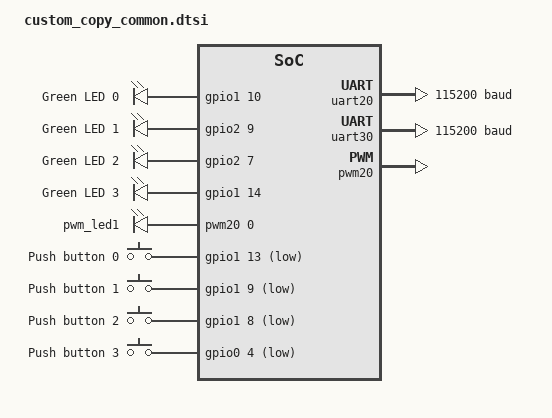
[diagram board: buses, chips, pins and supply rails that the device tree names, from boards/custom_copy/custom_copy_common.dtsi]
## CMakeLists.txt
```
cmake_minimum_required(VERSION 3.20.0)

# append custom board dir
list(APPEND BOARD_ROOT ${CMAKE_CURRENT_SOURCE_DIR})
# append custom module
list(APPEND EXTRA_ZEPHYR_MODULES ${CMAKE_CURRENT_SOURCE_DIR}/our-driver-module)

find_package(Zephyr REQUIRED)
project(my_zephyr_app)

target_sources(app PRIVATE src/main.cpp)

target_include_directories(app PRIVATE our-driver-module/drivers)
```

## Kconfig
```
source "Kconfig.zephyr"

menuconfig LED_SUBSYSTEM
	bool "LED Subsystem"
	default y


if LED_SUBSYSTEM

	# Led blink sleep time
	choice
		prompt "LED blink sleep time"
		default LED_BLINK_SLEEP_1000MS

	config LED_BLINK_SLEEP_250MS
		bool "250 ms (fast)"

	config LED_BLINK_SLEEP_1000MS
		bool "1s (medium)"

	config LED_BLINK_SLEEP_2000MS
		bool "2s (slow)"
	endchoice


	config LED_BLINK_SLEEP_TIME_MS
		int # <-- No prompt => hidden!
		default 250  if LED_BLINK_SLEEP_250MS
		default 1000 if LED_BLINK_SLEEP_1000MS
		default 2000 if LED_BLINK_SLEEP_2000MS
		default 0

	# advanced LED settings
	menuconfig LED_ADVANCED_SETTINGS
		bool "Advanced LED settings"
		default n

	if LED_ADVANCED_SETTINGS

		config LED_BRIGHTNESS
			int "LED brightness (0-100)"
			range 0 100
			default 100

		config LED_FADE_DURATION_MS
			int "LED fade duration (ms)"
			range 0 5000
			default 500

		menu "Expert settings"
			visible if LED_ADVANCED_SETTINGS

		config LED_ENABLE_LED_DEBUGGING
			bool "Enable LED debugging"

		config LED_CUSTOM_BLINK_PATTERN
			bool "Custom blink pattern"
		endmenu

	endif
endif # LED_SUBSYSTEM


config APP_HEARTBEAT_PERIOD_MS
	int "app led blink period (ms)"
	range 100 2000
	default 500
```

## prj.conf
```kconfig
CONFIG_GPIO=y
CONFIG_LOG=y
CONFIG_SENSOR=y
CONFIG_OUR_DRIVER=y
CONFIG_SHELL=y
```

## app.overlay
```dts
/ {
	sensor: our_sensor {
		compatible = "our,driver";
		gpios = <&gpio1 10 GPIO_ACTIVE_HIGH>;  // LED1
		status = "okay";
	};

	aliases {
		app-led = &led0;
		our-sensor = &sensor;
	};
};
```

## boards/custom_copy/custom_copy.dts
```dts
/*
 * Copyright (c) 2024 Nordic Semiconductor ASA
 *
 * SPDX-License-Identifier: Apache-2.0
 */

/dts-v1/;

#include <nordic/nrf54l15_cpuapp.dtsi>
#include "custom_copy.dtsi"

/ {
	compatible = "iomico,custom_copy";
	model = "Nordic nRF54L15 DK nRF54L15 Application MCU";

	chosen {
		zephyr,code-partition = &slot0_partition;
		zephyr,sram = &cpuapp_sram;
	};
};

/* Include default memory partition configuration file */
#include <nordic/nrf54l15_partition.dtsi>
```

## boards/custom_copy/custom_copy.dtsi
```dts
/*
 * Copyright (c) 2024 Nordic Semiconductor ASA
 *
 * SPDX-License-Identifier: Apache-2.0
 */

/* This file is common to the secure and non-secure domain */

#include "custom_copy_common.dtsi"

/ {
	chosen {
		zephyr,console = &uart20;
		zephyr,shell-uart = &uart20;
		zephyr,uart-mcumgr = &uart20;
		zephyr,bt-mon-uart = &uart20;
		zephyr,bt-c2h-uart = &uart20;
		zephyr,flash-controller = &rram_controller;
		zephyr,flash = &cpuapp_rram;
		zephyr,ieee802154 = &ieee802154;
		zephyr,boot-mode = &boot_mode0;
	};
};

&cpuapp_sram {
	status = "okay";
};

&lfxo {
	load-capacitors = "internal";
	load-capacitance-femtofarad = <17000>;
};

&hfxo {
	load-capacitors = "internal";
	load-capacitance-femtofarad = <15000>;
};

&regulators {
	status = "okay";
};

&vregmain {
	status = "okay";
	regulator-initial-mode = <NRF5X_REG_MODE_DCDC>;
};

&grtc {
	owned-channels = <0 1 2 3 4 5 6 7 8 9 10 11>;
	/* Channels 7-11 reserved for Zero Latency IRQs, 3-4 for FLPR */
	child-owned-channels = <3 4 7 8 9 10 11>;
	status = "okay";
};

&uart20 {
	status = "okay";
};

&nfct {
	status = "okay";
};

&gpio0 {
	status = "okay";
};

&gpio1 {
	status = "okay";
};

&gpio2 {
	status = "okay";
};

&gpiote20 {
	status = "okay";
};

&gpiote30 {
	status = "okay";
};

&radio {
	status = "okay";
};

&ieee802154 {
	status = "okay";
};

&temp {
	status = "okay";
};

&clock {
	status = "okay";
};

&gpregret1 {
	status = "okay";

	boot_mode0: boot_mode@0 {
		compatible = "zephyr,retention";
		status = "okay";
		reg = <0x0 0x1>;
	};
};

&spi00 {
	status = "okay";
	cs-gpios = <&gpio2 5 GPIO_ACTIVE_LOW>;
	pinctrl-0 = <&spi00_default>;
	pinctrl-1 = <&spi00_sleep>;
	pinctrl-names = "default", "sleep";

	mx25r64: mx25r6435f@0 {
		compatible = "jedec,spi-nor";
		status = "okay";
		reg = <0>;
		spi-max-frequency = <8000000>;
		jedec-id = [c2 28 17];
		sfdp-bfp = [
			e5 20 f1 ff  ff ff ff 03  44 eb 08 6b  08 3b 04 bb
			ee ff ff ff  ff ff 00 ff  ff ff 00 ff  0c 20 0f 52
			10 d8 00 ff  23 72 f5 00  82 ed 04 cc  44 83 48 44
			30 b0 30 b0  f7 c4 d5 5c  00 be 29 ff  f0 d0 ff ff
		];
		size = <67108864>;
		has-dpd;
		t-enter-dpd = <10000>;
		t-exit-dpd = <35000>;
	};
};

&adc {
	status = "okay";
};
```

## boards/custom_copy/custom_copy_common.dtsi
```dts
/*
 * Copyright (c) 2024 Nordic Semiconductor ASA
 *
 * SPDX-License-Identifier: Apache-2.0
 */

#include "custom_copy-pinctrl.dtsi"

/ {
	leds {
		compatible = "gpio-leds";

		led0: led_0 {
			gpios = <&gpio1 10 GPIO_ACTIVE_HIGH>;  // swapped GPIO pin of led0 and led1
			label = "Green LED 0";
		};

		led1: led_1 {
			gpios = <&gpio2 9 GPIO_ACTIVE_HIGH>;  // swapped GPIO pin of led0 and led1
			label = "Green LED 1";
		};

		led2: led_2 {
			gpios = <&gpio2 7 GPIO_ACTIVE_HIGH>;
			label = "Green LED 2";
		};

		led3: led_3 {
			gpios = <&gpio1 14 GPIO_ACTIVE_HIGH>;
			label = "Green LED 3";
		};
	};

	pwmleds {
		compatible = "pwm-leds";

		/*
		 * PWM signal can be exposed on GPIO pin only within same domain.
		 * There is only one domain which contains both PWM and GPIO:
		 * PWM20/21/22 and GPIO Port P1.
		 * Only LEDs connected to P1 can work with PWM, for example LED1.
		 */
		pwm_led1: pwm_led_1 {
			pwms = <&pwm20 0 PWM_MSEC(20) PWM_POLARITY_NORMAL>;
		};
	};

	buttons {
		compatible = "gpio-keys";

		button0: button_0 {
			gpios = <&gpio1 13 (GPIO_PULL_UP | GPIO_ACTIVE_LOW)>;
			label = "Push button 0";
			zephyr,code = <INPUT_KEY_0>;
		};

		button1: button_1 {
			gpios = <&gpio1 9 (GPIO_PULL_UP | GPIO_ACTIVE_LOW)>;
			label = "Push button 1";
			zephyr,code = <INPUT_KEY_1>;
		};

		button2: button_2 {
			gpios = <&gpio1 8 (GPIO_PULL_UP | GPIO_ACTIVE_LOW)>;
			label = "Push button 2";
			zephyr,code = <INPUT_KEY_2>;
		};

		button3: button_3 {
			gpios = <&gpio0 4 (GPIO_PULL_UP | GPIO_ACTIVE_LOW)>;
			label = "Push button 3";
			zephyr,code = <INPUT_KEY_3>;
		};
	};

	aliases {
		led0 = &led0;
		led1 = &led1;
		led2 = &led2;
		led3 = &led3;
		pwm-led0 = &pwm_led1;
		sw0 = &button0;
		sw1 = &button1;
		sw2 = &button2;
		sw3 = &button3;
		watchdog0 = &wdt31;
	};
};

&uart20 {
	current-speed = <115200>;
	pinctrl-0 = <&uart20_default>;
	pinctrl-1 = <&uart20_sleep>;
	pinctrl-names = "default", "sleep";
};

&uart30 {
	current-speed = <115200>;
	pinctrl-0 = <&uart30_default>;
	pinctrl-1 = <&uart30_sleep>;
	pinctrl-names = "default", "sleep";
};

&pwm20 {
	status = "okay";
	pinctrl-0 = <&pwm20_default>;
	pinctrl-1 = <&pwm20_sleep>;
	pinctrl-names = "default", "sleep";
};

&hfxo {
	startup-time-us = <854>;
};

/* Get a node label for wi-fi spi to use in shield files */
wifi_spi: &spi22 {};
```

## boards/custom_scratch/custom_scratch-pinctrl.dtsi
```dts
&pinctrl {
	/omit-if-no-ref/ uart20_default: uart20_default {
		group1 {
			psels = <NRF_PSEL(UART_TX, 1, 4)>,
				<NRF_PSEL(UART_RX, 1, 5)>;
		};
	};
};
```

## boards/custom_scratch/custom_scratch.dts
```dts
/*
 * Custom nRF54l15dk-compatible board from scratch
 */

/dts-v1/;

#include <nordic/nrf54l15_cpuapp.dtsi>
#include "custom_scratch-pinctrl.dtsi"

/ {
	model = "custom_scratch";
	compatible = "iomico,custom_scratch";

	leds {
		compatible = "gpio-leds";

		led0: led_0 {
			gpios = <&gpio2 7 GPIO_ACTIVE_HIGH>;
			label = "Green LED 0";
		};
	};

	buttons {
		compatible = "gpio-keys";

		button0: button_0 {
			gpios = <&gpio1 13 (GPIO_PULL_UP | GPIO_ACTIVE_LOW)>;
			label = "Push button 0";
			zephyr,code = <INPUT_KEY_0>;
		};
	};

	aliases {
		led0 = &led0;
		sw0 = &button0;
	};

	chosen {
		zephyr,flash = &cpuapp_rram;
		zephyr,code-partition = &slot0_partition;
		zephyr,sram = &cpuapp_sram;
		zephyr,console = &uart20;
	};
};

&uart20 {
	status = "okay";
	current-speed = <115200>;
	pinctrl-0 = <&uart20_default>;
	pinctrl-names = "default";
};

&grtc {
	owned-channels = <0 1 2 3 4 5 6 7 8 9 10 11>;
	/* Channels 7-11 reserved for Zero Latency IRQs, 3-4 for FLPR */
	child-owned-channels = <3 4 7 8 9 10 11>;
	status = "okay";
};

&gpio0 {
	status = "okay";
};

&gpio1 {
	status = "okay";
};

&gpio2 {
	status = "okay";
};

&gpiote20 {
	status = "okay";
};

&gpiote30 {
	status = "okay";
};

&clock {
	status = "okay";
};

#include <nordic/nrf54l15_partition.dtsi>
```

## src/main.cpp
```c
#include "zephyr/device.h"
#include <zephyr/kernel.h>
#include <zephyr/logging/log.h>
#include <zephyr/drivers/gpio.h>
#include <zephyr/drivers/sensor.h>

#define SLEEP_TIME_MS		CONFIG_APP_HEARTBEAT_PERIOD_MS

/* The devicetree node identifier for the "led0" alias. */
#define LED_NODE		DT_ALIAS(app_led)
#define OUR_SENSOR_NODE		DT_ALIAS(our_sensor)

static const struct gpio_dt_spec led = GPIO_DT_SPEC_GET(LED_NODE, gpios);
static const struct device *our_sensor = DEVICE_DT_GET(OUR_SENSOR_NODE);

LOG_MODULE_REGISTER(main, LOG_LEVEL_INF);

int main(void)
{
    bool led_state = true;

    if (!gpio_is_ready_dt(&led)) return 0;

    if (gpio_pin_configure_dt(&led, GPIO_OUTPUT_ACTIVE) < 0) return 0;

    while (1)
    {
        if (gpio_pin_toggle_dt(&led) < 0) return 0;

        led_state = !led_state;
        // LOG_INF("LED state: %s", led_state ? "ON" : "OFF");
        k_msleep(SLEEP_TIME_MS);
    }
    return 0;
}
```
